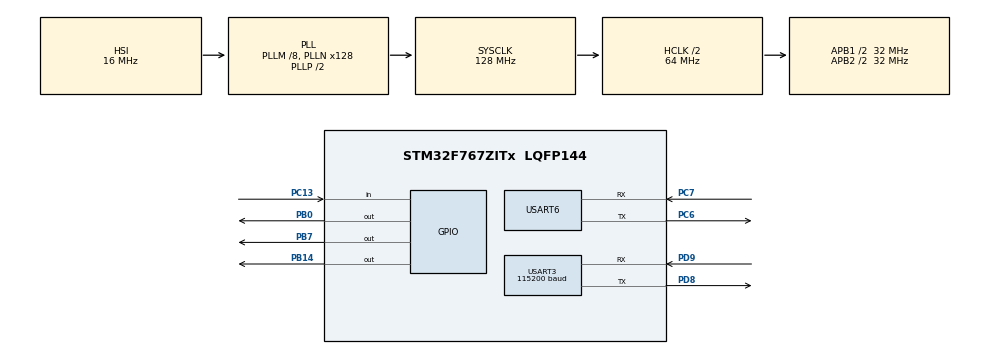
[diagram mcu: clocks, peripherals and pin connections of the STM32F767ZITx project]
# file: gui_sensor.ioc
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Dma.Request0=USART3_RX
Dma.Request1=USART6_RX
Dma.USART3_RX.0.Direction=DMA_PERIPH_TO_MEMORY
Dma.USART3_RX.0.FIFOMode=DMA_FIFOMODE_DISABLE
Dma.USART3_RX.0.Instance=DMA1_Stream1
Dma.USART3_RX.0.MemDataAlignment=DMA_MDATAALIGN_BYTE
Dma.USART3_RX.0.MemInc=DMA_MINC_ENABLE
Dma.USART3_RX.0.Mode=DMA_CIRCULAR
Dma.USART3_RX.0.PeriphDataAlignment=DMA_PDATAALIGN_BYTE
Dma.USART3_RX.0.PeriphInc=DMA_PINC_DISABLE
Dma.USART3_RX.0.Priority=DMA_PRIORITY_VERY_HIGH
Dma.USART6_RX.1.Direction=DMA_PERIPH_TO_MEMORY
Dma.USART6_RX.1.FIFOMode=DMA_FIFOMODE_DISABLE
Dma.USART6_RX.1.Instance=DMA2_Stream1
Dma.USART6_RX.1.MemDataAlignment=DMA_MDATAALIGN_BYTE
Dma.USART6_RX.1.MemInc=DMA_MINC_ENABLE
Dma.USART6_RX.1.Mode=DMA_CIRCULAR
Dma.USART6_RX.1.PeriphDataAlignment=DMA_PDATAALIGN_BYTE
Dma.USART6_RX.1.PeriphInc=DMA_PINC_DISABLE
Dma.USART6_RX.1.Priority=DMA_PRIORITY_VERY_HIGH
Mcu.Family=STM32F7
Mcu.Name=STM32F767ZITx
Mcu.Package=LQFP144
NVIC.DMA1_Stream1_IRQn=true\:0\:0\:false\:false\:true\:false\:true
NVIC.DMA2_Stream1_IRQn=true\:0\:0\:false\:false\:true\:false\:true
NVIC.PriorityGroup=NVIC_PRIORITYGROUP_4
NVIC.USART3_IRQn=true\:0\:0\:false\:false\:true\:true\:true
NVIC.USART6_IRQn=true\:0\:0\:false\:false\:true\:true\:true
PA13.Mode=Serial_Wire
PA13.Signal=SYS_JTMS-SWDIO
PA14.Mode=Serial_Wire
PA14.Signal=SYS_JTCK-SWCLK
PB0.Signal=GPIO_Output
PB14.Signal=GPIO_Output
PB7.Signal=GPIO_Output
PC13.Signal=GPIO_Input
PC6.Mode=Asynchronous
PC6.Signal=USART6_TX
PC7.Mode=Asynchronous
PC7.Signal=USART6_RX
PD8.Mode=Asynchronous
PD8.Signal=USART3_TX
PD9.Mode=Asynchronous
PD9.Signal=USART3_RX
PH0/OSC_IN.Mode=HSE-External-Oscillator
PH0/OSC_IN.Signal=RCC_OSC_IN
PH1/OSC_OUT.Mode=HSE-External-Oscillator
PH1/OSC_OUT.Signal=RCC_OSC_OUT
ProjectManager.HeapSize=0x200
ProjectManager.StackSize=0x400
ProjectManager.TargetToolchain=MDK-ARM V5.27
RCC.AHBCLKDivider=RCC_SYSCLK_DIV2
RCC.AHBFreq_Value=64000000
RCC.APB1CLKDivider=RCC_HCLK_DIV2
RCC.APB1Freq_Value=32000000
RCC.APB1TimFreq_Value=64000000
RCC.APB2CLKDivider=RCC_HCLK_DIV2
RCC.APB2Freq_Value=32000000
RCC.APB2TimFreq_Value=64000000
RCC.CortexFreq_Value=64000000
RCC.HCLKFreq_Value=64000000
RCC.HSE_VALUE=25000000
RCC.HSI_VALUE=16000000
RCC.LSE_VALUE=32768
RCC.PLLM=8
RCC.PLLN=128
RCC.SYSCLKFreq_VALUE=128000000
RCC.SYSCLKSource=RCC_SYSCLKSOURCE_PLLCLK
RCC.USBFreq_Value=128000000
RCC.VCOOutputFreq_Value=256000000
USART3.BaudRate=115200
USART3.VirtualMode-Asynchronous=VM_ASYNC
USART6.VirtualMode-Asynchronous=VM_ASYNC
board=custom

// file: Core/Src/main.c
/* USER CODE BEGIN Header */
/**
  ******************************************************************************
  * @file           : main.c
  * @brief          : Main program body
  ******************************************************************************
  * @attention
  *
  * <h2><center>&copy; Copyright (c) 2020 STMicroelectronics.
  * All rights reserved.</center></h2>
  *
  * This software component is licensed by ST under BSD 3-Clause license,
  * the "License"; You may not use this file except in compliance with the
  * License. You may obtain a copy of the License at:
  *                        opensource.org/licenses/BSD-3-Clause
  *
  ******************************************************************************
  */
/* USER CODE END Header */
#include "main.h"
#include "dma.h"
#include "usart.h"
#include "gpio.h"

/* USER CODE BEGIN Includes */
#include "serial_gui.h"
#include "string.h"
/* USER CODE END Includes */

void SystemClock_Config(void);

/* USER CODE BEGIN 0 */
#define comm2   42
#define mCount  3
#define mCountB 14

	int kk=0;
	int jj=0;
	int ss=0;
	volatile char newBuffer[20];
	volatile char newBuffer2[comm2];
  char rx_buffer[14];
	char rx_buffer2[comm2];
	int numDetec = 0;
	int ll=0;

	char packet[10][10];

	volatile char receiveTosend[mCount][mCountB];

	// A mod mesaj hazirlama
	char messagges[10][100] = {"Model: Arm Cortex-M4","Version: stm32f767ZI"};

	// C komutu icin senaryo
	float P     = 1;
	float Vrms  = 2;
	float Irms  = 3;
	float pf    = 4;
	float f     = 5;
	float dcCur = 6;
	float dcVol = 7;

	// B komutu icin senaryo
	float power    = 1001.1;
	float voltage  = 1001.1;
	float current  = 1001.1;
	float resistor = 1001.1;

//	float power    = 0;
//	float voltage  = 0;
//	float current  = 0;
//	float resistor = 0;

	void HAL_UART_RxCpltCallback(UART_HandleTypeDef *huart)
{

		for(int i=0;i<14;i++)
		{
			if(rx_buffer[i] == 'B')
			{
				jj = i;
				break;
			}
		}

		ll = 8+10*charToint(rx_buffer[2+jj])+charToint(rx_buffer[3+jj]);

		for(int i=0;i<14;i++)
		{
			newBuffer[i] = rx_buffer[i+jj];
			if(i==ll || i>=ll)
				newBuffer[i] = 0;
		}

		if(strlen(rx_buffer2) != 0)
		{
				for(int i=0;i<14;i++)
				{
					if(rx_buffer2[i] == 'B')
					{
						ss = i;
						break;
					}
				}

				if(ss == 1)
				{
					for(int i=1;i<comm2;i++)
					{
						newBuffer2[comm2-1] = rx_buffer2[0];
						newBuffer2[i-1] = rx_buffer2[i];
					}
				}

				if(ss == 0)
				{
					for(int i=0;i<comm2;i++)
					{
						newBuffer2[i] = rx_buffer2[i];
					}
				}

				for(int j=0;j<mCountB;j++)
				{
					receiveTosend[0][j] = newBuffer2[j];
				}

				receiveAsciiPackets(receiveTosend[0],packet[1]);
				power = stringTofloat(packet[1]);

				for(int j=mCountB;j<2*mCountB;j++)
				{
					receiveTosend[1][j-mCountB] = newBuffer2[j];
				}

				receiveAsciiPackets(receiveTosend[1],packet[2]);
				voltage = stringTofloat(packet[2]);

				for(int j=2*mCountB;j<3*mCountB;j++)
				{
					receiveTosend[2][j-2*mCountB] = newBuffer2[j];
				}

				receiveAsciiPackets(receiveTosend[2],packet[3]);
			  current = stringTofloat(packet[3]);
		}

		for(int i=0;i<=13;i++)
		rx_buffer[i] = 0;

}

void HAL_UART_TxCpltCallback(UART_HandleTypeDef *huart)
{

}

/* USER CODE END 0 */

int main(void)
{

  /* MCU Configuration--------------------------------------------------------*/

  /* Reset of all peripherals, Initializes the Flash interface and the Systick. */
   HAL_Init();

  /* Configure the system clock */
  SystemClock_Config();

  /* Initialize all configured peripherals */
  MX_GPIO_Init();
  MX_DMA_Init();
  MX_USART3_UART_Init();
  MX_USART6_UART_Init();

  /* Infinite loop */
  /* USER CODE BEGIN WHILE */
  while (1)
  {
		HAL_UART_Receive_DMA(&huart3, (uint8_t *)rx_buffer, mCountB);
		// A
		if(rx_buffer[0] == 'A')
		{
			HAL_GPIO_TogglePin(GPIOB,GPIO_PIN_0);
			sendmodA_Packets(&huart3,2,messagges);
			rx_buffer[0] = '!';
		}

		if(newBuffer[0]=='B')
		{
			receiveAsciiPackets(newBuffer,packet[0]);
			resistor = stringTofloat(packet[0]);
			if(newBuffer[1] == 'P')
			{
				sendmodB_mcuPackets(&huart6,resistor,'P');
				HAL_GPIO_TogglePin(GPIOB,GPIO_PIN_14);
				HAL_UART_Receive_DMA(&huart6, (uint8_t *)rx_buffer2, comm2);
			}

			if(newBuffer[1] == 'R')
			{
				sendmodB_mcuPackets(&huart6,resistor,'R');
				HAL_GPIO_TogglePin(GPIOB,GPIO_PIN_14);
				HAL_UART_Receive_DMA(&huart6, (uint8_t *)rx_buffer2, comm2);
			}

			if(newBuffer[1] == 'V')
			{
				sendmodB_mcuPackets(&huart6,resistor,'V');
				HAL_GPIO_TogglePin(GPIOB,GPIO_PIN_14);
				HAL_UART_Receive_DMA(&huart6, (uint8_t *)rx_buffer2, comm2);
			}

			if(newBuffer[1] == 'I')
			{
				sendmodB_mcuPackets(&huart6,resistor,'I');
				HAL_GPIO_TogglePin(GPIOB,GPIO_PIN_14);
				HAL_UART_Receive_DMA(&huart6, (uint8_t *)rx_buffer2, comm2);
			}

			HAL_GPIO_TogglePin(GPIOB,GPIO_PIN_7);

			sendmodB_Packets(&huart3,power,voltage,current,resistor);
			newBuffer[0]='!';

		}

		// C
		if(rx_buffer[0] == 'C')
		{
			/*P     = P     + 1;
			Vrms  = Vrms  + 1;
			Irms  = Irms  + 1;
			pf    = pf    + 1;
			f     = f     + 1;
			dcCur = dcCur + 1;
			dcVol = dcVol + 1;	*/

			if(P== 1000)
			{
				P     = 1 ;
				Vrms  = 2 ;
				Irms  = 3 ;
				pf    = 4 ;
				f     = 5 ;
				dcCur = 6 ;
				dcVol =	7 ;
			}

			HAL_GPIO_TogglePin(GPIOB,GPIO_PIN_14);
			sendmodC_Packets(&huart3,P,Vrms,Irms,pf,f,dcCur,dcVol);
			HAL_GPIO_WritePin(GPIOB,GPIO_PIN_14,GPIO_PIN_RESET);
			rx_buffer[0] = '!';
		}

    /* USER CODE END WHILE */

  }
}

void SystemClock_Config(void)
{
  RCC_OscInitTypeDef RCC_OscInitStruct = {0};
  RCC_ClkInitTypeDef RCC_ClkInitStruct = {0};
  RCC_PeriphCLKInitTypeDef PeriphClkInitStruct = {0};

  /** Configure the main internal regulator output voltage
  */
  __HAL_RCC_PWR_CLK_ENABLE();
  __HAL_PWR_VOLTAGESCALING_CONFIG(PWR_REGULATOR_VOLTAGE_SCALE3);
  /** Initializes the RCC Oscillators according to the specified parameters
  * in the RCC_OscInitTypeDef structure.
  */
  RCC_OscInitStruct.OscillatorType = RCC_OSCILLATORTYPE_HSI;
  RCC_OscInitStruct.HSIState = RCC_HSI_ON;
  RCC_OscInitStruct.HSICalibrationValue = RCC_HSICALIBRATION_DEFAULT;
  RCC_OscInitStruct.PLL.PLLState = RCC_PLL_ON;
  RCC_OscInitStruct.PLL.PLLSource = RCC_PLLSOURCE_HSI;
  RCC_OscInitStruct.PLL.PLLM = 8;
  RCC_OscInitStruct.PLL.PLLN = 128;
  RCC_OscInitStruct.PLL.PLLP = RCC_PLLP_DIV2;
  RCC_OscInitStruct.PLL.PLLQ = 2;
  if (HAL_RCC_OscConfig(&RCC_OscInitStruct) != HAL_OK)
  {
    Error_Handler();
  }
  /** Initializes the CPU, AHB and APB buses clocks
  */
  RCC_ClkInitStruct.ClockType = RCC_CLOCKTYPE_HCLK|RCC_CLOCKTYPE_SYSCLK
                              |RCC_CLOCKTYPE_PCLK1|RCC_CLOCKTYPE_PCLK2;
  RCC_ClkInitStruct.SYSCLKSource = RCC_SYSCLKSOURCE_PLLCLK;
  RCC_ClkInitStruct.AHBCLKDivider = RCC_SYSCLK_DIV2;
  RCC_ClkInitStruct.APB1CLKDivider = RCC_HCLK_DIV2;
  RCC_ClkInitStruct.APB2CLKDivider = RCC_HCLK_DIV2;

  if (HAL_RCC_ClockConfig(&RCC_ClkInitStruct, FLASH_LATENCY_2) != HAL_OK)
  {
    Error_Handler();
  }
  PeriphClkInitStruct.PeriphClockSelection = RCC_PERIPHCLK_USART3|RCC_PERIPHCLK_USART6;
  PeriphClkInitStruct.Usart3ClockSelection = RCC_USART3CLKSOURCE_PCLK1;
  PeriphClkInitStruct.Usart6ClockSelection = RCC_USART6CLKSOURCE_PCLK2;
  if (HAL_RCCEx_PeriphCLKConfig(&PeriphClkInitStruct) != HAL_OK)
  {
    Error_Handler();
  }
}

void Error_Handler(void)
{
}

/************************ (C) COPYRIGHT STMicroelectronics *****END OF FILE****/
